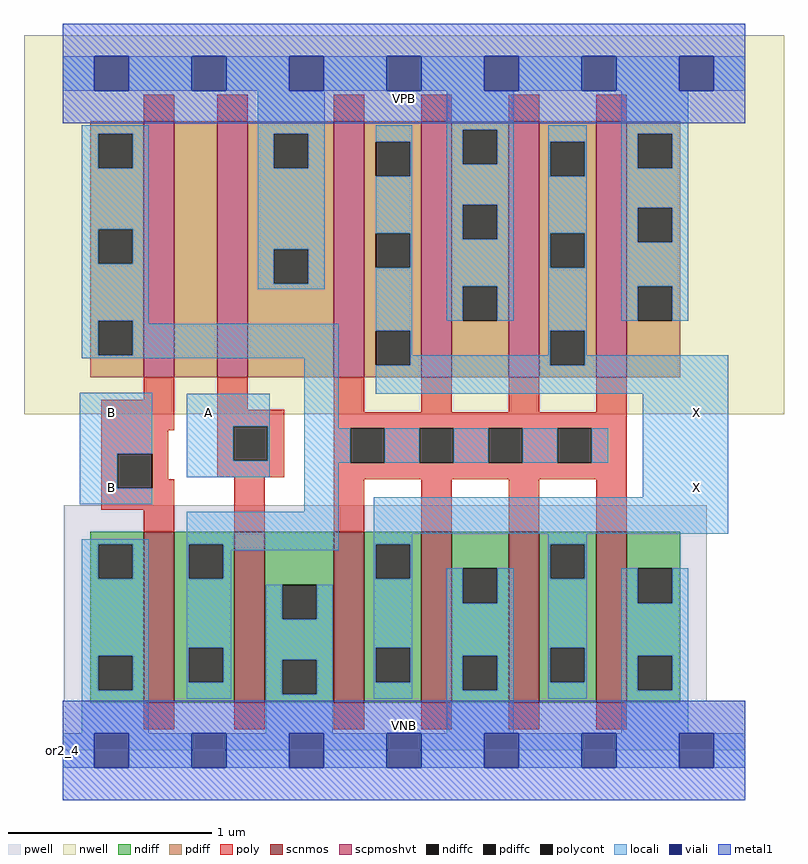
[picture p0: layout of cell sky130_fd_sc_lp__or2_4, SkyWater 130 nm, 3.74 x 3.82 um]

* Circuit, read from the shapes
.subckt sky130_fd_sc_lp__or2_4 A B VGND VNB VPB VPWR X
XM1 n1 B VGND VNB sky130_fd_pr__nfet_01v8 w=0.84 l=0.15
XM2 VGND A n1 VNB sky130_fd_pr__nfet_01v8 w=0.84 l=0.15
XM3 X n1 VGND VNB sky130_fd_pr__nfet_01v8 w=0.84 l=0.15 m=4
XM4 n2 B n1 VPB sky130_fd_pr__pfet_01v8_hvt w=1.26 l=0.15
XM5 VPWR A n2 VPB sky130_fd_pr__pfet_01v8_hvt w=1.26 l=0.15
XM6 X n1 VPWR VPB sky130_fd_pr__pfet_01v8_hvt w=1.26 l=0.15 m=4
.ends

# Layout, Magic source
magic
tech sky130A
magscale 1 2
<< nwell >>
rect -38 331 710 704
<< pwell >>
rect 1 49 634 241
rect 0 0 672 49
<< scnmos >>
rect 80 47 110 215
rect 169 47 199 215
rect 267 47 297 215
rect 353 47 383 215
rect 439 47 469 215
rect 525 47 555 215
<< scpmoshvt >>
rect 80 367 110 619
rect 152 367 182 619
rect 267 367 297 619
rect 353 367 383 619
rect 439 367 469 619
rect 525 367 555 619
<< ndiff >>
rect 27 203 80 215
rect 27 169 35 203
rect 69 169 80 203
rect 27 93 80 169
rect 27 59 35 93
rect 69 59 80 93
rect 27 47 80 59
rect 110 203 169 215
rect 110 169 124 203
rect 158 169 169 203
rect 110 101 169 169
rect 110 67 124 101
rect 158 67 169 101
rect 110 47 169 67
rect 199 163 267 215
rect 199 129 216 163
rect 250 129 267 163
rect 199 89 267 129
rect 199 55 216 89
rect 250 55 267 89
rect 199 47 267 55
rect 297 203 353 215
rect 297 169 308 203
rect 342 169 353 203
rect 297 101 353 169
rect 297 67 308 101
rect 342 67 353 101
rect 297 47 353 67
rect 383 179 439 215
rect 383 145 394 179
rect 428 145 439 179
rect 383 93 439 145
rect 383 59 394 93
rect 428 59 439 93
rect 383 47 439 59
rect 469 203 525 215
rect 469 169 480 203
rect 514 169 525 203
rect 469 101 525 169
rect 469 67 480 101
rect 514 67 525 101
rect 469 47 525 67
rect 555 179 608 215
rect 555 145 566 179
rect 600 145 608 179
rect 555 93 608 145
rect 555 59 566 93
rect 600 59 608 93
rect 555 47 608 59
<< pdiff >>
rect 27 607 80 619
rect 27 573 35 607
rect 69 573 80 607
rect 27 513 80 573
rect 27 479 35 513
rect 69 479 80 513
rect 27 423 80 479
rect 27 389 35 423
rect 69 389 80 423
rect 27 367 80 389
rect 110 367 152 619
rect 182 607 267 619
rect 182 573 208 607
rect 242 573 267 607
rect 182 493 267 573
rect 182 459 208 493
rect 242 459 267 493
rect 182 367 267 459
rect 297 599 353 619
rect 297 565 308 599
rect 342 565 353 599
rect 297 509 353 565
rect 297 475 308 509
rect 342 475 353 509
rect 297 413 353 475
rect 297 379 308 413
rect 342 379 353 413
rect 297 367 353 379
rect 383 611 439 619
rect 383 577 394 611
rect 428 577 439 611
rect 383 537 439 577
rect 383 503 394 537
rect 428 503 439 537
rect 383 457 439 503
rect 383 423 394 457
rect 428 423 439 457
rect 383 367 439 423
rect 469 599 525 619
rect 469 565 480 599
rect 514 565 525 599
rect 469 509 525 565
rect 469 475 480 509
rect 514 475 525 509
rect 469 413 525 475
rect 469 379 480 413
rect 514 379 525 413
rect 469 367 525 379
rect 555 607 608 619
rect 555 573 566 607
rect 600 573 608 607
rect 555 534 608 573
rect 555 500 566 534
rect 600 500 608 534
rect 555 457 608 500
rect 555 423 566 457
rect 600 423 608 457
rect 555 367 608 423
<< ndiffc >>
rect 35 169 69 203
rect 35 59 69 93
rect 124 169 158 203
rect 124 67 158 101
rect 216 129 250 163
rect 216 55 250 89
rect 308 169 342 203
rect 308 67 342 101
rect 394 145 428 179
rect 394 59 428 93
rect 480 169 514 203
rect 480 67 514 101
rect 566 145 600 179
rect 566 59 600 93
<< pdiffc >>
rect 35 573 69 607
rect 35 479 69 513
rect 35 389 69 423
rect 208 573 242 607
rect 208 459 242 493
rect 308 565 342 599
rect 308 475 342 509
rect 308 379 342 413
rect 394 577 428 611
rect 394 503 428 537
rect 394 423 428 457
rect 480 565 514 599
rect 480 475 514 509
rect 480 379 514 413
rect 566 573 600 607
rect 566 500 600 534
rect 566 423 600 457
<< poly >>
rect 80 619 110 645
rect 152 619 182 645
rect 267 619 297 645
rect 353 619 383 645
rect 439 619 469 645
rect 525 619 555 645
rect 80 345 110 367
rect 38 315 110 345
rect 152 335 182 367
rect 152 319 218 335
rect 38 292 104 315
rect 38 258 54 292
rect 88 267 104 292
rect 152 285 168 319
rect 202 285 218 319
rect 152 269 218 285
rect 267 333 297 367
rect 353 333 383 367
rect 439 333 469 367
rect 525 333 555 367
rect 267 317 555 333
rect 267 283 283 317
rect 317 283 351 317
rect 385 283 419 317
rect 453 283 487 317
rect 521 283 555 317
rect 88 258 110 267
rect 38 237 110 258
rect 80 215 110 237
rect 169 215 199 269
rect 267 267 555 283
rect 267 215 297 267
rect 353 215 383 267
rect 439 215 469 267
rect 525 215 555 267
rect 80 21 110 47
rect 169 21 199 47
rect 267 21 297 47
rect 353 21 383 47
rect 439 21 469 47
rect 525 21 555 47
<< polycont >>
rect 54 258 88 292
rect 168 285 202 319
rect 283 283 317 317
rect 351 283 385 317
rect 419 283 453 317
rect 487 283 521 317
<< locali >>
rect 0 649 31 683
rect 65 649 127 683
rect 161 649 223 683
rect 257 649 319 683
rect 353 649 415 683
rect 449 649 511 683
rect 545 649 607 683
rect 641 649 672 683
rect 19 607 85 615
rect 19 573 35 607
rect 69 573 85 607
rect 19 513 85 573
rect 19 479 35 513
rect 69 479 85 513
rect 19 423 85 479
rect 192 607 258 649
rect 192 573 208 607
rect 242 573 258 607
rect 192 493 258 573
rect 192 459 208 493
rect 242 459 258 493
rect 192 454 258 459
rect 308 599 344 615
rect 342 565 344 599
rect 308 509 344 565
rect 342 475 344 509
rect 19 389 35 423
rect 69 420 85 423
rect 69 389 272 420
rect 19 386 272 389
rect 17 292 88 352
rect 17 258 54 292
rect 122 319 204 351
rect 122 285 168 319
rect 202 285 204 319
rect 122 269 204 285
rect 238 317 272 386
rect 308 413 344 475
rect 378 611 444 649
rect 378 577 394 611
rect 428 577 444 611
rect 378 537 444 577
rect 378 503 394 537
rect 428 503 444 537
rect 378 457 444 503
rect 378 423 394 457
rect 428 423 444 457
rect 478 599 516 615
rect 478 565 480 599
rect 514 565 516 599
rect 478 509 516 565
rect 478 475 480 509
rect 514 475 516 509
rect 342 389 344 413
rect 478 413 516 475
rect 550 607 616 649
rect 550 573 566 607
rect 600 573 616 607
rect 550 534 616 573
rect 550 500 566 534
rect 600 500 616 534
rect 550 457 616 500
rect 550 423 566 457
rect 600 423 616 457
rect 478 389 480 413
rect 342 379 480 389
rect 514 389 516 413
rect 514 379 655 389
rect 308 351 655 379
rect 238 283 283 317
rect 317 283 351 317
rect 385 283 419 317
rect 453 283 487 317
rect 521 283 537 317
rect 17 242 88 258
rect 238 235 272 283
rect 571 249 655 351
rect 19 203 85 208
rect 19 169 35 203
rect 69 169 85 203
rect 19 93 85 169
rect 19 59 35 93
rect 69 59 85 93
rect 19 17 85 59
rect 122 203 272 235
rect 122 169 124 203
rect 158 197 272 203
rect 306 213 655 249
rect 306 203 344 213
rect 158 169 166 197
rect 122 101 166 169
rect 306 169 308 203
rect 342 169 344 203
rect 478 203 516 213
rect 122 67 124 101
rect 158 67 166 101
rect 122 51 166 67
rect 200 129 216 163
rect 250 129 266 163
rect 200 89 266 129
rect 200 55 216 89
rect 250 55 266 89
rect 200 17 266 55
rect 306 101 344 169
rect 306 67 308 101
rect 342 67 344 101
rect 306 51 344 67
rect 378 145 394 179
rect 428 145 444 179
rect 378 93 444 145
rect 378 59 394 93
rect 428 59 444 93
rect 378 17 444 59
rect 478 169 480 203
rect 514 169 516 203
rect 478 101 516 169
rect 478 67 480 101
rect 514 67 516 101
rect 478 51 516 67
rect 550 145 566 179
rect 600 145 616 179
rect 550 93 616 145
rect 550 59 566 93
rect 600 59 616 93
rect 550 17 616 59
rect 0 -17 31 17
rect 65 -17 127 17
rect 161 -17 223 17
rect 257 -17 319 17
rect 353 -17 415 17
rect 449 -17 511 17
rect 545 -17 607 17
rect 641 -17 672 17
<< viali >>
rect 31 649 65 683
rect 127 649 161 683
rect 223 649 257 683
rect 319 649 353 683
rect 415 649 449 683
rect 511 649 545 683
rect 607 649 641 683
rect 31 -17 65 17
rect 127 -17 161 17
rect 223 -17 257 17
rect 319 -17 353 17
rect 415 -17 449 17
rect 511 -17 545 17
rect 607 -17 641 17
<< metal1 >>
rect 0 683 672 715
rect 0 649 31 683
rect 65 649 127 683
rect 161 649 223 683
rect 257 649 319 683
rect 353 649 415 683
rect 449 649 511 683
rect 545 649 607 683
rect 641 649 672 683
rect 0 617 672 649
rect 0 17 672 49
rect 0 -17 31 17
rect 65 -17 127 17
rect 161 -17 223 17
rect 257 -17 319 17
rect 353 -17 415 17
rect 449 -17 511 17
rect 545 -17 607 17
rect 641 -17 672 17
rect 0 -49 672 -17
<< labels >>
flabel pwell s 0 0 672 49 0 FreeSans 200 0 0 0 VNB
port 4 nsew ground bidirectional
flabel nwell s 0 617 672 666 0 FreeSans 200 0 0 0 VPB
port 5 nsew power bidirectional
rlabel comment s 0 0 0 0 4 or2_4
flabel metal1 s 0 617 672 666 0 FreeSans 340 0 0 0 VPWR
port 6 nsew power bidirectional
flabel metal1 s 0 0 672 49 0 FreeSans 340 0 0 0 VGND
port 3 nsew ground bidirectional
flabel locali s 127 316 161 350 0 FreeSans 340 0 0 0 A
port 1 nsew signal input
flabel locali s 31 242 65 276 0 FreeSans 340 0 0 0 B
port 2 nsew signal input
flabel locali s 31 316 65 350 0 FreeSans 340 0 0 0 B
port 2 nsew signal input
flabel locali s 607 242 641 276 0 FreeSans 340 0 0 0 X
port 7 nsew signal output
flabel locali s 607 316 641 350 0 FreeSans 340 0 0 0 X
port 7 nsew signal output
<< properties >>
string LEFsite unit
string LEFclass CORE
string FIXED_BBOX 0 0 672 666
string GDS_FILE $PDKPATH/libs.ref/sky130_fd_sc_lp/gds/sky130_fd_sc_lp.gds
string LEFsymmetry X Y R90
string GDS_END 6148630
string GDS_START 6142052
<< end >>
